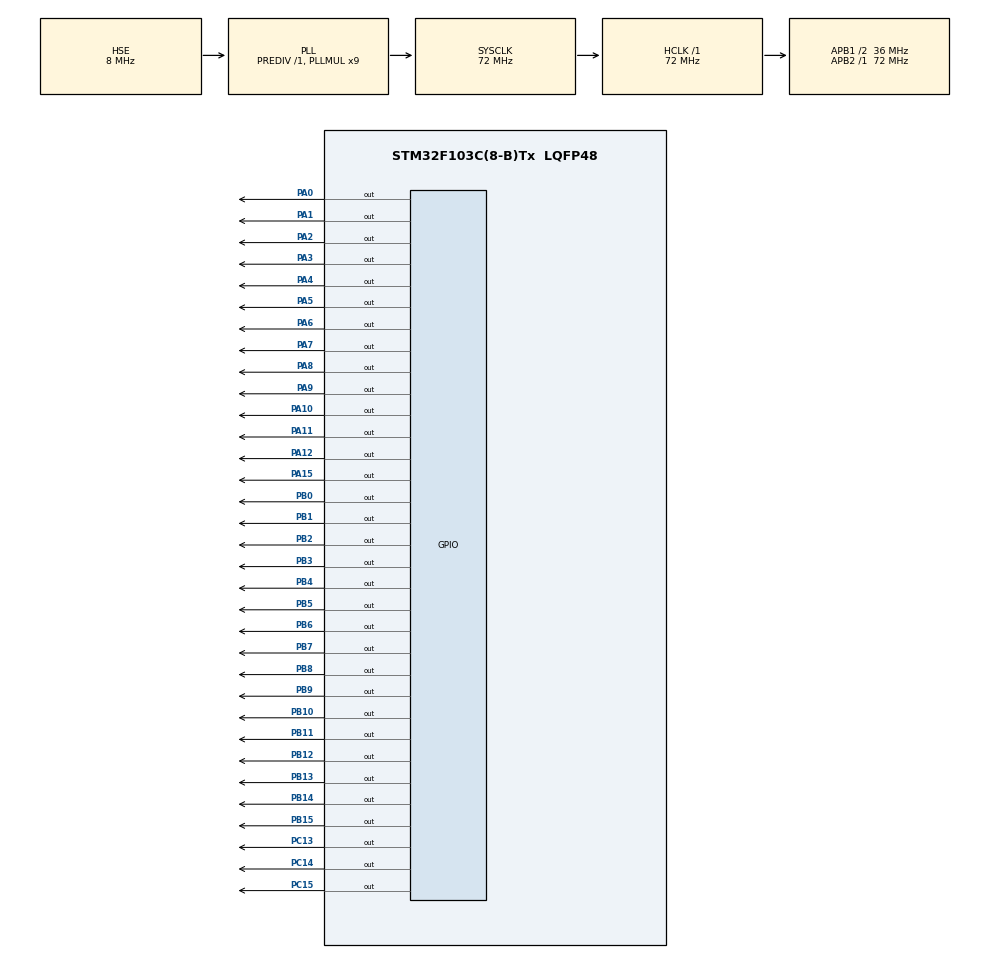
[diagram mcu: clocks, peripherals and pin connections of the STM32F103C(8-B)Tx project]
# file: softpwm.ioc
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Dma.Request0=TIM4_UP
Dma.Request1=TIM2_UP
Dma.Request2=TIM1_UP
Dma.TIM1_UP.2.Direction=DMA_MEMORY_TO_PERIPH
Dma.TIM1_UP.2.Instance=DMA1_Channel5
Dma.TIM1_UP.2.MemDataAlignment=DMA_MDATAALIGN_WORD
Dma.TIM1_UP.2.MemInc=DMA_MINC_ENABLE
Dma.TIM1_UP.2.Mode=DMA_CIRCULAR
Dma.TIM1_UP.2.PeriphDataAlignment=DMA_PDATAALIGN_WORD
Dma.TIM1_UP.2.PeriphInc=DMA_PINC_DISABLE
Dma.TIM1_UP.2.Priority=DMA_PRIORITY_LOW
Dma.TIM2_UP.1.Direction=DMA_MEMORY_TO_PERIPH
Dma.TIM2_UP.1.Instance=DMA1_Channel2
Dma.TIM2_UP.1.MemDataAlignment=DMA_MDATAALIGN_WORD
Dma.TIM2_UP.1.MemInc=DMA_MINC_ENABLE
Dma.TIM2_UP.1.Mode=DMA_CIRCULAR
Dma.TIM2_UP.1.PeriphDataAlignment=DMA_PDATAALIGN_WORD
Dma.TIM2_UP.1.PeriphInc=DMA_PINC_DISABLE
Dma.TIM2_UP.1.Priority=DMA_PRIORITY_LOW
Dma.TIM4_UP.0.Direction=DMA_MEMORY_TO_PERIPH
Dma.TIM4_UP.0.Instance=DMA1_Channel7
Dma.TIM4_UP.0.MemDataAlignment=DMA_MDATAALIGN_WORD
Dma.TIM4_UP.0.MemInc=DMA_MINC_ENABLE
Dma.TIM4_UP.0.Mode=DMA_CIRCULAR
Dma.TIM4_UP.0.PeriphDataAlignment=DMA_PDATAALIGN_WORD
Dma.TIM4_UP.0.PeriphInc=DMA_PINC_DISABLE
Dma.TIM4_UP.0.Priority=DMA_PRIORITY_LOW
Mcu.Family=STM32F1
Mcu.Name=STM32F103C(8-B)Tx
Mcu.Package=LQFP48
NVIC.DMA1_Channel2_IRQn=true\:0\:0\:false\:false\:true\:false\:true
NVIC.DMA1_Channel5_IRQn=true\:0\:0\:false\:false\:true\:false\:true
NVIC.DMA1_Channel7_IRQn=true\:0\:0\:false\:false\:true\:false\:true
NVIC.PriorityGroup=NVIC_PRIORITYGROUP_4
PA0-WKUP.Signal=GPIO_Output
PA1.Signal=GPIO_Output
PA10.Signal=GPIO_Output
PA11.Signal=GPIO_Output
PA12.Signal=GPIO_Output
PA13.Mode=Serial_Wire
PA13.Signal=SYS_JTMS-SWDIO
PA14.Mode=Serial_Wire
PA14.Signal=SYS_JTCK-SWCLK
PA15.Signal=GPIO_Output
PA2.Signal=GPIO_Output
PA3.Signal=GPIO_Output
PA4.Signal=GPIO_Output
PA5.Signal=GPIO_Output
PA6.Signal=GPIO_Output
PA7.Signal=GPIO_Output
PA8.Signal=GPIO_Output
PA9.Signal=GPIO_Output
PB0.Signal=GPIO_Output
PB1.Signal=GPIO_Output
PB10.Signal=GPIO_Output
PB11.Signal=GPIO_Output
PB12.Signal=GPIO_Output
PB13.Signal=GPIO_Output
PB14.Signal=GPIO_Output
PB15.Signal=GPIO_Output
PB2.Signal=GPIO_Output
PB3.Signal=GPIO_Output
PB4.Signal=GPIO_Output
PB5.Signal=GPIO_Output
PB6.Signal=GPIO_Output
PB7.Signal=GPIO_Output
PB8.Signal=GPIO_Output
PB9.Signal=GPIO_Output
PC13-TAMPER-RTC.Signal=GPIO_Output
PC14-OSC32_IN.Signal=GPIO_Output
PC15-OSC32_OUT.Signal=GPIO_Output
PD0-OSC_IN.Mode=HSE-External-Oscillator
PD0-OSC_IN.Signal=RCC_OSC_IN
PD1-OSC_OUT.Mode=HSE-External-Oscillator
PD1-OSC_OUT.Signal=RCC_OSC_OUT
ProjectManager.HeapSize=0x200
ProjectManager.StackSize=0x400
ProjectManager.TargetToolchain=STM32CubeIDE
RCC.AHBFreq_Value=72000000
RCC.APB1CLKDivider=RCC_HCLK_DIV2
RCC.APB1Freq_Value=36000000
RCC.APB1TimFreq_Value=72000000
RCC.APB2Freq_Value=72000000
RCC.APB2TimFreq_Value=72000000
RCC.HCLKFreq_Value=72000000
RCC.PLLMUL=RCC_PLL_MUL9
RCC.PLLSourceVirtual=RCC_PLLSOURCE_HSE
RCC.SYSCLKFreq_VALUE=72000000
RCC.SYSCLKSource=RCC_SYSCLKSOURCE_PLLCLK
RCC.USBFreq_Value=72000000
TIM1.Period=50-1
TIM1.Prescaler=0
TIM1.TIM_MasterOutputTrigger=TIM_TRGO_UPDATE
TIM2.Period=50-1
TIM2.Prescaler=0
TIM2.TIM_MasterOutputTrigger=TIM_TRGO_UPDATE
TIM4.Period=50-1
TIM4.Prescaler=0
TIM4.TIM_MasterOutputTrigger=TIM_TRGO_UPDATE
VP_TIM1_VS_ClockSourceINT.Mode=Internal
VP_TIM2_VS_ClockSourceINT.Mode=Internal
VP_TIM4_VS_ClockSourceINT.Mode=Internal
board=custom

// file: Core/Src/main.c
/* USER CODE BEGIN Header */
/**
  ******************************************************************************
  * @file           : main.c
  * @brief          : Main program body
  ******************************************************************************
  * @attention
  *
  * <h2><center>&copy; Copyright (c) 2021 STMicroelectronics.
  * All rights reserved.</center></h2>
  *
  * This software component is licensed by ST under BSD 3-Clause license,
  * the "License"; You may not use this file except in compliance with the
  * License. You may obtain a copy of the License at:
  *                        opensource.org/licenses/BSD-3-Clause
  *
  ******************************************************************************
  */
/* USER CODE END Header */
#include "main.h"

/* USER CODE BEGIN PD */
#define lengthSoftPWMbuffer 100
/* USER CODE END PD */

TIM_HandleTypeDef htim1;
TIM_HandleTypeDef htim2;
TIM_HandleTypeDef htim4;
DMA_HandleTypeDef hdma_tim1_up;
DMA_HandleTypeDef hdma_tim2_up;
DMA_HandleTypeDef hdma_tim4_up;

/* USER CODE BEGIN PV */
uint32_t dataA[lengthSoftPWMbuffer];
uint32_t dataB[lengthSoftPWMbuffer];
uint32_t dataC[lengthSoftPWMbuffer];
/* USER CODE END PV */

void SystemClock_Config(void);
static void MX_GPIO_Init(void);
static void MX_DMA_Init(void);
static void MX_TIM4_Init(void);
static void MX_TIM1_Init(void);
static void MX_TIM2_Init(void);
/* USER CODE BEGIN PFP */
void zeroSoftPWM(uint32_t softpwmbuffer[]){
	for (uint32_t i = 0;  i < lengthSoftPWMbuffer; ++ i) {
			softpwmbuffer[i]=0;
}
}

void setSoftPWM(uint16_t pin, uint32_t duty ,uint32_t *softpwmbuffer){
	for (uint32_t i = 0;  i < lengthSoftPWMbuffer; ++ i) {
		if(i<duty){//set pin
			softpwmbuffer[i]&=(uint32_t)~(pin<<16);
			softpwmbuffer[i]|=(uint32_t)pin;
		}else{//reset pin
			softpwmbuffer[i]&=(uint32_t)~(pin);
			softpwmbuffer[i]|=(uint32_t)pin<<16;
		}
	}

}
/* USER CODE END PFP */

int main(void)
{

  /* MCU Configuration--------------------------------------------------------*/

  /* Reset of all peripherals, Initializes the Flash interface and the Systick. */
  HAL_Init();

  /* Configure the system clock */
  SystemClock_Config();

  /* Initialize all configured peripherals */
  MX_GPIO_Init();
  MX_DMA_Init();
  MX_TIM4_Init();
  MX_TIM1_Init();
  MX_TIM2_Init();
  /* USER CODE BEGIN 2 */
  //start the timers
HAL_TIM_Base_Start(&htim1);
HAL_TIM_Base_Start(&htim2);
HAL_TIM_Base_Start(&htim4);

//configure DMAs
HAL_DMA_Start(&hdma_tim1_up, 	(uint32_t)&(dataA[0]), (uint32_t)&(GPIOA->BSRR), sizeof(dataA)/sizeof(dataA[0]));
HAL_DMA_Start(&hdma_tim2_up, 	(uint32_t)&(dataB[0]), (uint32_t)&(GPIOB->BSRR), sizeof(dataB)/sizeof(dataB[0]));
HAL_DMA_Start(&hdma_tim4_up, 	(uint32_t)&(dataC[0]), (uint32_t)&(GPIOC->BSRR), sizeof(dataC)/sizeof(dataC[0]));

//start DMAs
__HAL_TIM_ENABLE_DMA(&htim1, TIM_DMA_UPDATE);
__HAL_TIM_ENABLE_DMA(&htim2, TIM_DMA_UPDATE);
__HAL_TIM_ENABLE_DMA(&htim4, TIM_DMA_UPDATE);

//ill use o as a main variable for this tutorial
uint32_t o=0;
//im afraid of SRAMs not being initialised to 0
zeroSoftPWM(dataA);
zeroSoftPWM(dataB);
zeroSoftPWM(dataC);
  /* USER CODE END 2 */

  /* Infinite loop */
  while (1)
  {

    /* USER CODE BEGIN 3 */
	  //GPIO bank A
	  setSoftPWM(GPIO_PIN_0, o, (uint32_t*)&dataA);
	  setSoftPWM(GPIO_PIN_1, o, (uint32_t*)&dataA);
	  setSoftPWM(GPIO_PIN_2, o, (uint32_t*)&dataA);
	  setSoftPWM(GPIO_PIN_3, o, (uint32_t*)&dataA);
	  setSoftPWM(GPIO_PIN_4, o, (uint32_t*)&dataA);
	  setSoftPWM(GPIO_PIN_5, o, (uint32_t*)&dataA);
	  setSoftPWM(GPIO_PIN_6, o, (uint32_t*)&dataA);
	  setSoftPWM(GPIO_PIN_7, o, (uint32_t*)&dataA);
	  setSoftPWM(GPIO_PIN_8, o, (uint32_t*)&dataA);
	  setSoftPWM(GPIO_PIN_9, o, (uint32_t*)&dataA);
	  setSoftPWM(GPIO_PIN_10, o, (uint32_t*)&dataA);
	  setSoftPWM(GPIO_PIN_11, o, (uint32_t*)&dataA);
	  setSoftPWM(GPIO_PIN_12, o, (uint32_t*)&dataA);
	  setSoftPWM(GPIO_PIN_15, o, (uint32_t*)&dataA);
	  //GPIO bank B
	  setSoftPWM(GPIO_PIN_0, o, (uint32_t*)&dataB);
	  setSoftPWM(GPIO_PIN_1, o, (uint32_t*)&dataB);
	  setSoftPWM(GPIO_PIN_2, o, (uint32_t*)&dataB);
	  setSoftPWM(GPIO_PIN_3, o, (uint32_t*)&dataB);
	  setSoftPWM(GPIO_PIN_4, o, (uint32_t*)&dataB);
	  setSoftPWM(GPIO_PIN_5, o, (uint32_t*)&dataB);
	  setSoftPWM(GPIO_PIN_6, o, (uint32_t*)&dataB);
	  setSoftPWM(GPIO_PIN_7, o, (uint32_t*)&dataB);
	  setSoftPWM(GPIO_PIN_8, o, (uint32_t*)&dataB);
	  setSoftPWM(GPIO_PIN_9, o, (uint32_t*)&dataB);
	  setSoftPWM(GPIO_PIN_10, o, (uint32_t*)&dataB);
	  setSoftPWM(GPIO_PIN_11, o, (uint32_t*)&dataB);
	  setSoftPWM(GPIO_PIN_12, o, (uint32_t*)&dataB);
	  setSoftPWM(GPIO_PIN_13, o, (uint32_t*)&dataB);
	  setSoftPWM(GPIO_PIN_14, o, (uint32_t*)&dataB);
	  setSoftPWM(GPIO_PIN_15, o, (uint32_t*)&dataB);
	  //GPIO bank C
	  setSoftPWM(GPIO_PIN_13, o, (uint32_t*)&dataC);
	  setSoftPWM(GPIO_PIN_14, o, (uint32_t*)&dataC);
	  setSoftPWM(GPIO_PIN_15, o, (uint32_t*)&dataC);

	  //thats it 33 PWM pins looping 0-100 duty cycle yeeey
	  o++;
	  if(o>100){
		  o=0;
	  }
	  HAL_Delay(10);
  }
  /* USER CODE END 3 */
}

void SystemClock_Config(void)
{
  RCC_OscInitTypeDef RCC_OscInitStruct = {0};
  RCC_ClkInitTypeDef RCC_ClkInitStruct = {0};

  /** Initializes the RCC Oscillators according to the specified parameters
  * in the RCC_OscInitTypeDef structure.
  */
  RCC_OscInitStruct.OscillatorType = RCC_OSCILLATORTYPE_HSE;
  RCC_OscInitStruct.HSEState = RCC_HSE_ON;
  RCC_OscInitStruct.HSEPredivValue = RCC_HSE_PREDIV_DIV1;
  RCC_OscInitStruct.HSIState = RCC_HSI_ON;
  RCC_OscInitStruct.PLL.PLLState = RCC_PLL_ON;
  RCC_OscInitStruct.PLL.PLLSource = RCC_PLLSOURCE_HSE;
  RCC_OscInitStruct.PLL.PLLMUL = RCC_PLL_MUL9;
  if (HAL_RCC_OscConfig(&RCC_OscInitStruct) != HAL_OK)
  {
    Error_Handler();
  }
  /** Initializes the CPU, AHB and APB buses clocks
  */
  RCC_ClkInitStruct.ClockType = RCC_CLOCKTYPE_HCLK|RCC_CLOCKTYPE_SYSCLK
                              |RCC_CLOCKTYPE_PCLK1|RCC_CLOCKTYPE_PCLK2;
  RCC_ClkInitStruct.SYSCLKSource = RCC_SYSCLKSOURCE_PLLCLK;
  RCC_ClkInitStruct.AHBCLKDivider = RCC_SYSCLK_DIV1;
  RCC_ClkInitStruct.APB1CLKDivider = RCC_HCLK_DIV2;
  RCC_ClkInitStruct.APB2CLKDivider = RCC_HCLK_DIV1;

  if (HAL_RCC_ClockConfig(&RCC_ClkInitStruct, FLASH_LATENCY_2) != HAL_OK)
  {
    Error_Handler();
  }
}

static void MX_TIM1_Init(void)
{

  TIM_ClockConfigTypeDef sClockSourceConfig = {0};
  TIM_MasterConfigTypeDef sMasterConfig = {0};

  htim1.Instance = TIM1;
  htim1.Init.Prescaler = 0;
  htim1.Init.CounterMode = TIM_COUNTERMODE_UP;
  htim1.Init.Period = 50-1;
  htim1.Init.ClockDivision = TIM_CLOCKDIVISION_DIV1;
  htim1.Init.RepetitionCounter = 0;
  htim1.Init.AutoReloadPreload = TIM_AUTORELOAD_PRELOAD_DISABLE;
  if (HAL_TIM_Base_Init(&htim1) != HAL_OK)
  {
    Error_Handler();
  }
  sClockSourceConfig.ClockSource = TIM_CLOCKSOURCE_INTERNAL;
  if (HAL_TIM_ConfigClockSource(&htim1, &sClockSourceConfig) != HAL_OK)
  {
    Error_Handler();
  }
  sMasterConfig.MasterOutputTrigger = TIM_TRGO_UPDATE;
  sMasterConfig.MasterSlaveMode = TIM_MASTERSLAVEMODE_DISABLE;
  if (HAL_TIMEx_MasterConfigSynchronization(&htim1, &sMasterConfig) != HAL_OK)
  {
    Error_Handler();
  }

}

static void MX_TIM2_Init(void)
{

  TIM_ClockConfigTypeDef sClockSourceConfig = {0};
  TIM_MasterConfigTypeDef sMasterConfig = {0};

  htim2.Instance = TIM2;
  htim2.Init.Prescaler = 0;
  htim2.Init.CounterMode = TIM_COUNTERMODE_UP;
  htim2.Init.Period = 50-1;
  htim2.Init.ClockDivision = TIM_CLOCKDIVISION_DIV1;
  htim2.Init.AutoReloadPreload = TIM_AUTORELOAD_PRELOAD_DISABLE;
  if (HAL_TIM_Base_Init(&htim2) != HAL_OK)
  {
    Error_Handler();
  }
  sClockSourceConfig.ClockSource = TIM_CLOCKSOURCE_INTERNAL;
  if (HAL_TIM_ConfigClockSource(&htim2, &sClockSourceConfig) != HAL_OK)
  {
    Error_Handler();
  }
  sMasterConfig.MasterOutputTrigger = TIM_TRGO_UPDATE;
  sMasterConfig.MasterSlaveMode = TIM_MASTERSLAVEMODE_DISABLE;
  if (HAL_TIMEx_MasterConfigSynchronization(&htim2, &sMasterConfig) != HAL_OK)
  {
    Error_Handler();
  }

}

static void MX_TIM4_Init(void)
{

  TIM_ClockConfigTypeDef sClockSourceConfig = {0};
  TIM_MasterConfigTypeDef sMasterConfig = {0};

  htim4.Instance = TIM4;
  htim4.Init.Prescaler = 0;
  htim4.Init.CounterMode = TIM_COUNTERMODE_UP;
  htim4.Init.Period = 50-1;
  htim4.Init.ClockDivision = TIM_CLOCKDIVISION_DIV1;
  htim4.Init.AutoReloadPreload = TIM_AUTORELOAD_PRELOAD_DISABLE;
  if (HAL_TIM_Base_Init(&htim4) != HAL_OK)
  {
    Error_Handler();
  }
  sClockSourceConfig.ClockSource = TIM_CLOCKSOURCE_INTERNAL;
  if (HAL_TIM_ConfigClockSource(&htim4, &sClockSourceConfig) != HAL_OK)
  {
    Error_Handler();
  }
  sMasterConfig.MasterOutputTrigger = TIM_TRGO_UPDATE;
  sMasterConfig.MasterSlaveMode = TIM_MASTERSLAVEMODE_DISABLE;
  if (HAL_TIMEx_MasterConfigSynchronization(&htim4, &sMasterConfig) != HAL_OK)
  {
    Error_Handler();
  }

}

static void MX_DMA_Init(void)
{

  /* DMA controller clock enable */
  __HAL_RCC_DMA1_CLK_ENABLE();

  /* DMA interrupt init */
  /* DMA1_Channel2_IRQn interrupt configuration */
  HAL_NVIC_SetPriority(DMA1_Channel2_IRQn, 0, 0);
  HAL_NVIC_EnableIRQ(DMA1_Channel2_IRQn);
  /* DMA1_Channel5_IRQn interrupt configuration */
  HAL_NVIC_SetPriority(DMA1_Channel5_IRQn, 0, 0);
  HAL_NVIC_EnableIRQ(DMA1_Channel5_IRQn);
  /* DMA1_Channel7_IRQn interrupt configuration */
  HAL_NVIC_SetPriority(DMA1_Channel7_IRQn, 0, 0);
  HAL_NVIC_EnableIRQ(DMA1_Channel7_IRQn);

}

static void MX_GPIO_Init(void)
{
  GPIO_InitTypeDef GPIO_InitStruct = {0};

  /* GPIO Ports Clock Enable */
  __HAL_RCC_GPIOC_CLK_ENABLE();
  __HAL_RCC_GPIOD_CLK_ENABLE();
  __HAL_RCC_GPIOA_CLK_ENABLE();
  __HAL_RCC_GPIOB_CLK_ENABLE();

  /*Configure GPIO pin Output Level */
  HAL_GPIO_WritePin(GPIOC, GPIO_PIN_13|GPIO_PIN_14|GPIO_PIN_15, GPIO_PIN_RESET);

  /*Configure GPIO pin Output Level */
  HAL_GPIO_WritePin(GPIOA, GPIO_PIN_0|GPIO_PIN_1|GPIO_PIN_2|GPIO_PIN_3
                          |GPIO_PIN_4|GPIO_PIN_5|GPIO_PIN_6|GPIO_PIN_7
                          |GPIO_PIN_8|GPIO_PIN_9|GPIO_PIN_10|GPIO_PIN_11
                          |GPIO_PIN_12|GPIO_PIN_15, GPIO_PIN_RESET);

  /*Configure GPIO pin Output Level */
  HAL_GPIO_WritePin(GPIOB, GPIO_PIN_0|GPIO_PIN_1|GPIO_PIN_2|GPIO_PIN_10
                          |GPIO_PIN_11|GPIO_PIN_12|GPIO_PIN_13|GPIO_PIN_14
                          |GPIO_PIN_15|GPIO_PIN_3|GPIO_PIN_4|GPIO_PIN_5
                          |GPIO_PIN_6|GPIO_PIN_7|GPIO_PIN_8|GPIO_PIN_9, GPIO_PIN_RESET);

  /*Configure GPIO pins : PC13 PC14 PC15 */
  GPIO_InitStruct.Pin = GPIO_PIN_13|GPIO_PIN_14|GPIO_PIN_15;
  GPIO_InitStruct.Mode = GPIO_MODE_OUTPUT_PP;
  GPIO_InitStruct.Pull = GPIO_NOPULL;
  GPIO_InitStruct.Speed = GPIO_SPEED_FREQ_LOW;
  HAL_GPIO_Init(GPIOC, &GPIO_InitStruct);

  /*Configure GPIO pins : PA0 PA1 PA2 PA3
                           PA4 PA5 PA6 PA7
                           PA8 PA9 PA10 PA11
                           PA12 PA15 */
  GPIO_InitStruct.Pin = GPIO_PIN_0|GPIO_PIN_1|GPIO_PIN_2|GPIO_PIN_3
                          |GPIO_PIN_4|GPIO_PIN_5|GPIO_PIN_6|GPIO_PIN_7
                          |GPIO_PIN_8|GPIO_PIN_9|GPIO_PIN_10|GPIO_PIN_11
                          |GPIO_PIN_12|GPIO_PIN_15;
  GPIO_InitStruct.Mode = GPIO_MODE_OUTPUT_PP;
  GPIO_InitStruct.Pull = GPIO_NOPULL;
  GPIO_InitStruct.Speed = GPIO_SPEED_FREQ_LOW;
  HAL_GPIO_Init(GPIOA, &GPIO_InitStruct);

  /*Configure GPIO pins : PB0 PB1 PB2 PB10
                           PB11 PB12 PB13 PB14
                           PB15 PB3 PB4 PB5
                           PB6 PB7 PB8 PB9 */
  GPIO_InitStruct.Pin = GPIO_PIN_0|GPIO_PIN_1|GPIO_PIN_2|GPIO_PIN_10
                          |GPIO_PIN_11|GPIO_PIN_12|GPIO_PIN_13|GPIO_PIN_14
                          |GPIO_PIN_15|GPIO_PIN_3|GPIO_PIN_4|GPIO_PIN_5
                          |GPIO_PIN_6|GPIO_PIN_7|GPIO_PIN_8|GPIO_PIN_9;
  GPIO_InitStruct.Mode = GPIO_MODE_OUTPUT_PP;
  GPIO_InitStruct.Pull = GPIO_NOPULL;
  GPIO_InitStruct.Speed = GPIO_SPEED_FREQ_LOW;
  HAL_GPIO_Init(GPIOB, &GPIO_InitStruct);

}

void Error_Handler(void)
{
}

/************************ (C) COPYRIGHT STMicroelectronics *****END OF FILE****/
